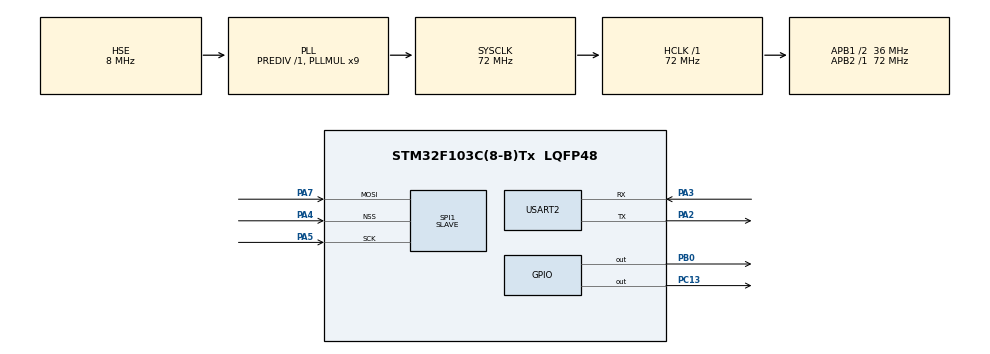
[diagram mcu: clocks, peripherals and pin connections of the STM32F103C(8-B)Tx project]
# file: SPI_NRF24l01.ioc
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Mcu.Family=STM32F1
Mcu.Name=STM32F103C(8-B)Tx
Mcu.Package=LQFP48
NVIC.PriorityGroup=NVIC_PRIORITYGROUP_4
NVIC.SPI1_IRQn=true\:1\:0\:true\:false\:true\:true\:true\:true
NVIC.USART2_IRQn=true\:2\:0\:true\:false\:true\:true\:true\:true
PA13.Mode=Serial_Wire
PA13.Signal=SYS_JTMS-SWDIO
PA14.Mode=Serial_Wire
PA14.Signal=SYS_JTCK-SWCLK
PA2.Mode=Asynchronous
PA2.Signal=USART2_TX
PA3.Mode=Asynchronous
PA3.Signal=USART2_RX
PA4.Mode=NSS_Signal_Hard_Input
PA4.Signal=SPI1_NSS
PA5.Mode=RX_Only_Simplex_Unidirect_Slave
PA5.Signal=SPI1_SCK
PA7.Mode=RX_Only_Simplex_Unidirect_Slave
PA7.Signal=SPI1_MOSI
PB0.Signal=GPIO_Output
PC13-TAMPER-RTC.Signal=GPIO_Output
PD0-OSC_IN.Mode=HSE-External-Oscillator
PD0-OSC_IN.Signal=RCC_OSC_IN
PD1-OSC_OUT.Mode=HSE-External-Oscillator
PD1-OSC_OUT.Signal=RCC_OSC_OUT
ProjectManager.HeapSize=0x200
ProjectManager.StackSize=0x400
ProjectManager.TargetToolchain=STM32CubeIDE
RCC.AHBFreq_Value=72000000
RCC.APB1CLKDivider=RCC_HCLK_DIV2
RCC.APB1Freq_Value=36000000
RCC.APB1TimFreq_Value=72000000
RCC.APB2Freq_Value=72000000
RCC.APB2TimFreq_Value=72000000
RCC.HCLKFreq_Value=72000000
RCC.PLLMUL=RCC_PLL_MUL9
RCC.PLLSourceVirtual=RCC_PLLSOURCE_HSE
RCC.SYSCLKFreq_VALUE=72000000
RCC.SYSCLKSource=RCC_SYSCLKSOURCE_PLLCLK
RCC.USBFreq_Value=72000000
SPI1.Direction=SPI_DIRECTION_2LINES_RXONLY
SPI1.Mode=SPI_MODE_SLAVE
SPI1.VirtualNSS=VM_NSSHARD
SPI1.VirtualType=VM_SLAVE
USART2.VirtualMode=VM_ASYNC
board=custom

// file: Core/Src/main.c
/* USER CODE BEGIN Header */
/**
  ******************************************************************************
  * @file           : main.c
  * @brief          : Main program body
  ******************************************************************************
  * @attention
  *
  * Copyright (c) 2023 STMicroelectronics.
  * All rights reserved.
  *
  * This software is licensed under terms that can be found in the LICENSE file
  * in the root directory of this software component.
  * If no LICENSE file comes with this software, it is provided AS-IS.
  *
  ******************************************************************************
  */
/* USER CODE END Header */
#include "main.h"

/* USER CODE BEGIN Includes */
#include "NRF24L01.h"
#include "string.h"
/* USER CODE END Includes */

SPI_HandleTypeDef hspi1;

UART_HandleTypeDef huart2;

void SystemClock_Config(void);
static void MX_GPIO_Init(void);
static void MX_SPI1_Init(void);
static void MX_USART2_UART_Init(void);

/* USER CODE BEGIN 0 */
// resive
uint8_t RxAddress[] = {0x00,0xDD,0xCC,0xBB,0xAA};
uint8_t RxData[32];

uint8_t data[50];

// transmit
uint8_t TxAddress[] = {0xEE,0xDD,0xCC,0xBB,0xAA};
uint8_t TxData[] = "Hello World\n";
/* USER CODE END 0 */

int main(void)
{

  /* MCU Configuration--------------------------------------------------------*/

  /* Reset of all peripherals, Initializes the Flash interface and the Systick. */
  HAL_Init();

  /* Configure the system clock */
  SystemClock_Config();

  /* Initialize all configured peripherals */
  MX_GPIO_Init();
  MX_SPI1_Init();
  MX_USART2_UART_Init();
  /* USER CODE BEGIN 2 */
  NRF24_Init();

 NRF24_RxMode(RxAddress, 10);

//  NRF24_TxMode(TxAddress, 10);

  NRF24_ReadAll(data);
  /* USER CODE END 2 */

  /* Infinite loop */
  while (1)
  {

    /* USER CODE BEGIN 3 */
	  if (isDataAvailable(2) == 1)
	 	  {
	 		  NRF24_Receive(RxData);
	 		  HAL_UART_Transmit(&huart2, RxData, strlen((char *)RxData), 1000);
	 	  }

//	 	  if (NRF24_Transmit(TxData) == 1)
//	 	  {
//	 		  HAL_GPIO_TogglePin(GPIOC, GPIO_PIN_13);
//	 	  }
//
	  HAL_UART_Transmit(&huart2, (uint8_t*)'a', 1, 1000);
	 	  HAL_Delay(1000);
  }
  /* USER CODE END 3 */
}

void SystemClock_Config(void)
{
  RCC_OscInitTypeDef RCC_OscInitStruct = {0};
  RCC_ClkInitTypeDef RCC_ClkInitStruct = {0};

  /** Initializes the RCC Oscillators according to the specified parameters
  * in the RCC_OscInitTypeDef structure.
  */
  RCC_OscInitStruct.OscillatorType = RCC_OSCILLATORTYPE_HSE;
  RCC_OscInitStruct.HSEState = RCC_HSE_ON;
  RCC_OscInitStruct.HSEPredivValue = RCC_HSE_PREDIV_DIV1;
  RCC_OscInitStruct.HSIState = RCC_HSI_ON;
  RCC_OscInitStruct.PLL.PLLState = RCC_PLL_ON;
  RCC_OscInitStruct.PLL.PLLSource = RCC_PLLSOURCE_HSE;
  RCC_OscInitStruct.PLL.PLLMUL = RCC_PLL_MUL9;
  if (HAL_RCC_OscConfig(&RCC_OscInitStruct) != HAL_OK)
  {
    Error_Handler();
  }

  /** Initializes the CPU, AHB and APB buses clocks
  */
  RCC_ClkInitStruct.ClockType = RCC_CLOCKTYPE_HCLK|RCC_CLOCKTYPE_SYSCLK
                              |RCC_CLOCKTYPE_PCLK1|RCC_CLOCKTYPE_PCLK2;
  RCC_ClkInitStruct.SYSCLKSource = RCC_SYSCLKSOURCE_PLLCLK;
  RCC_ClkInitStruct.AHBCLKDivider = RCC_SYSCLK_DIV1;
  RCC_ClkInitStruct.APB1CLKDivider = RCC_HCLK_DIV2;
  RCC_ClkInitStruct.APB2CLKDivider = RCC_HCLK_DIV1;

  if (HAL_RCC_ClockConfig(&RCC_ClkInitStruct, FLASH_LATENCY_2) != HAL_OK)
  {
    Error_Handler();
  }
}

static void MX_SPI1_Init(void)
{

  /* SPI1 parameter configuration*/
  hspi1.Instance = SPI1;
  hspi1.Init.Mode = SPI_MODE_SLAVE;
  hspi1.Init.Direction = SPI_DIRECTION_2LINES_RXONLY;
  hspi1.Init.DataSize = SPI_DATASIZE_8BIT;
  hspi1.Init.CLKPolarity = SPI_POLARITY_LOW;
  hspi1.Init.CLKPhase = SPI_PHASE_1EDGE;
  hspi1.Init.NSS = SPI_NSS_HARD_INPUT;
  hspi1.Init.FirstBit = SPI_FIRSTBIT_MSB;
  hspi1.Init.TIMode = SPI_TIMODE_DISABLE;
  hspi1.Init.CRCCalculation = SPI_CRCCALCULATION_DISABLE;
  hspi1.Init.CRCPolynomial = 10;
  if (HAL_SPI_Init(&hspi1) != HAL_OK)
  {
    Error_Handler();
  }

}

static void MX_USART2_UART_Init(void)
{

  huart2.Instance = USART2;
  huart2.Init.BaudRate = 115200;
  huart2.Init.WordLength = UART_WORDLENGTH_8B;
  huart2.Init.StopBits = UART_STOPBITS_1;
  huart2.Init.Parity = UART_PARITY_NONE;
  huart2.Init.Mode = UART_MODE_TX_RX;
  huart2.Init.HwFlowCtl = UART_HWCONTROL_NONE;
  huart2.Init.OverSampling = UART_OVERSAMPLING_16;
  if (HAL_UART_Init(&huart2) != HAL_OK)
  {
    Error_Handler();
  }

}

static void MX_GPIO_Init(void)
{
  GPIO_InitTypeDef GPIO_InitStruct = {0};

  /* GPIO Ports Clock Enable */
  __HAL_RCC_GPIOC_CLK_ENABLE();
  __HAL_RCC_GPIOD_CLK_ENABLE();
  __HAL_RCC_GPIOA_CLK_ENABLE();
  __HAL_RCC_GPIOB_CLK_ENABLE();

  /*Configure GPIO pin Output Level */
  HAL_GPIO_WritePin(GPIOC, GPIO_PIN_13, GPIO_PIN_RESET);

  /*Configure GPIO pin Output Level */
  HAL_GPIO_WritePin(GPIOB, GPIO_PIN_0, GPIO_PIN_RESET);

  /*Configure GPIO pin : PC13 */
  GPIO_InitStruct.Pin = GPIO_PIN_13;
  GPIO_InitStruct.Mode = GPIO_MODE_OUTPUT_PP;
  GPIO_InitStruct.Pull = GPIO_NOPULL;
  GPIO_InitStruct.Speed = GPIO_SPEED_FREQ_LOW;
  HAL_GPIO_Init(GPIOC, &GPIO_InitStruct);

  /*Configure GPIO pin : PB0 */
  GPIO_InitStruct.Pin = GPIO_PIN_0;
  GPIO_InitStruct.Mode = GPIO_MODE_OUTPUT_PP;
  GPIO_InitStruct.Pull = GPIO_NOPULL;
  GPIO_InitStruct.Speed = GPIO_SPEED_FREQ_LOW;
  HAL_GPIO_Init(GPIOB, &GPIO_InitStruct);

}

void Error_Handler(void)
{
  __disable_irq();
  while (1)
  {
  }
}
